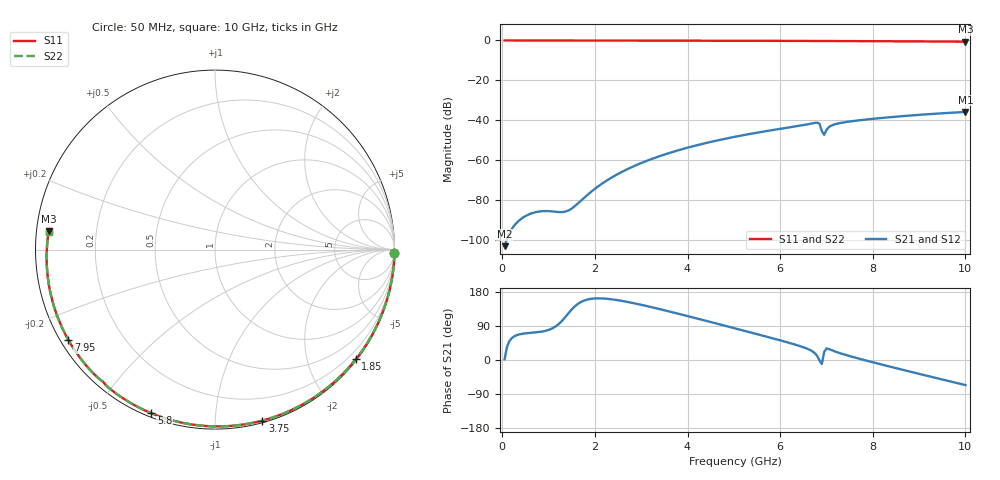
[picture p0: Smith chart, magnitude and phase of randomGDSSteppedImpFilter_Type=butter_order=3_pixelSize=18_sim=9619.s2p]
! freq	dB(S11)	phase(S11)	dB(S12)	phase(S12)
!  dB(S21)	phase(S21)	dB(S22)	phase(S22)
!S-par simulation data
#  GHz  S  DB  R 50
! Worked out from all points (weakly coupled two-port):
!   200 points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, 50 MHz to 10 GHz, reference 50 ohm
!   highest |S21| = -35.82 dB at 10 GHz (marker M1); lowest = -103.0 dB at 50 MHz (marker M2)
!   lowest |S11| = -0.6 dB at 10 GHz (marker M3), VSWR 28.55, Z = 1.76 + j2.74 ohm
!   |S11| at or under -10 dB: nowhere
!   |S22| runs from -0.6 to 0.0 dB; largest |S21 - S12| = 0
!   S11 on the Smith chart (normalised r, x): 50 MHz: open; 1.85 GHz: 0.03, -2.91; 3.75 GHz: 0.02, -1.31; 5.8 GHz: 0.02, -0.68; 7.95 GHz: 0.02, -0.28; 10 GHz: 0.04, +0.05
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0.05  -0.00 -1.0  -103.05 2.0  -103.05 2.0  -0.00 -1.0
0.85  -0.02 -17.6  -85.54 74.8  -85.54 74.8  -0.02 -17.6
1.7  -0.04 -34.9  -80.24 153.1  -80.24 153.1  -0.04 -34.9
1.75  -0.05 -35.9  -79.18 156.0  -79.18 156.0  -0.05 -35.9
1.85  -0.05 -37.9  -77.14 159.9  -77.14 159.9  -0.05 -37.9
2.15  -0.06 -43.9  -71.78 162.5  -71.78 162.5  -0.06 -43.8
2.5  -0.07 -50.7  -66.85 157.7  -66.85 157.7  -0.07 -50.7
3.4  -0.09 -68.0  -57.94 134.3  -57.94 134.3  -0.09 -67.9
3.75  -0.10 -74.5  -55.36 123.7  -55.36 123.7  -0.10 -74.5
5.05  -0.15 -98.1  -48.13 82.7  -48.13 82.7  -0.15 -98.0
5.8  -0.19 -111.2  -45.02 58.5  -45.02 58.5  -0.19 -111.1
6.7  -0.25 -126.8  -41.52 22.6  -41.52 22.6  -0.25 -126.7
6.85  -0.28 -129.5  -41.76 -1.4  -41.76 -1.4  -0.28 -129.4
6.9  -0.31 -130.2  -45.42 -10.6  -45.42 -10.6  -0.31 -130.1
6.95  -0.30 -130.9  -47.28 21.2  -47.28 21.2  -0.30 -130.8
7  -0.29 -131.7  -44.77 30.4  -44.77 30.4  -0.29 -131.6
7.05  -0.29 -132.6  -43.44 29.0  -43.44 29.0  -0.29 -132.5
7.15  -0.29 -134.4  -42.22 24.1  -42.22 24.1  -0.29 -134.3
7.95  -0.36 -148.3  -39.38 -4.4  -39.38 -4.4  -0.36 -148.2
8.35  -0.40 -155.4  -38.49 -16.9  -38.49 -16.9  -0.40 -155.2
9.2  -0.50 -170.8  -36.94 -42.5  -36.94 -42.5  -0.50 -170.7
10  -0.61 173.7  -35.82 -66.1  -35.82 -66.1  -0.61 173.9
